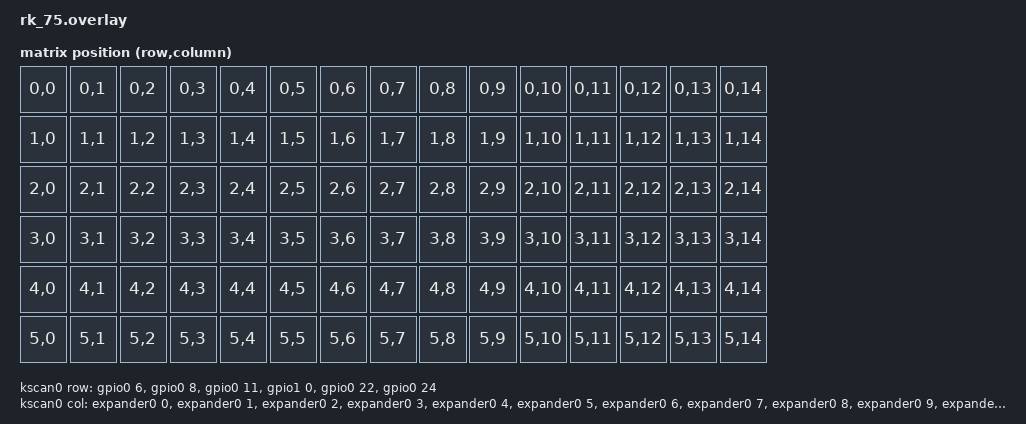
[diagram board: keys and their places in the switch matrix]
// SPDX-License-Identifier: MIT

#include <dt-bindings/zmk/matrix_transform.h>
#include <dt-bindings/gpio/gpio.h>
#include <dt-bindings/i2c/i2c.h> // 推荐包含，用于 I2C_BITRATE_FAST

/ {
    chosen {
        zmk,kscan = &kscan0;
        zmk,matrix-transform = &matrix_transform0;
    };

    kscan0: kscan {
        compatible = "zmk,kscan-gpio-matrix";
        label = "KSCAN";
        diode-direction = "col2row";

        /* 行 (Row) 引脚 - 保持在主控 MCU (&gpio0) 上 */
        // 注意：这里的引脚 P0.06, P0.08, P0.17, P0.20 在 pinctrl 中被 UART0 和 I2C0 占用。
        // 如果它们被用于矩阵行，则 UART0 和 I2C0 无法同时使用。
        row-gpios = <&gpio0 6 GPIO_ACTIVE_HIGH>,
                    <&gpio0 8 GPIO_ACTIVE_HIGH>,
                    <&gpio0 11 GPIO_ACTIVE_HIGH>,
                    <&gpio1 0 GPIO_ACTIVE_HIGH>,
                    <&gpio0 22 GPIO_ACTIVE_HIGH>,
                    <&gpio0 24 GPIO_ACTIVE_HIGH>;

        /*
         * 列 (Column) 引脚 - 已根据要求修改
         * 全部指向 I/O 扩展器 (&expander0)
         */
        col-gpios = <&expander0 0 GPIO_ACTIVE_HIGH>,  /* 对应原 &gpio1 0 */
                    <&expander0 1 GPIO_ACTIVE_HIGH>,  /* 对应原 &gpio0 11 */
                    <&expander0 2 GPIO_ACTIVE_HIGH>,  /* 对应原 &gpio1 4 */
                    <&expander0 3 GPIO_ACTIVE_HIGH>,  /* 对应原 &gpio1 6 */
                    <&expander0 4 GPIO_ACTIVE_HIGH>,  /* 对应原 &gpio0 31 */
                    <&expander0 5 GPIO_ACTIVE_HIGH>,  /* 对应原 &gpio0 29 */
                    <&expander0 6 GPIO_ACTIVE_HIGH>,  /* 对应原 &gpio0 2 */
                    <&expander0 7 GPIO_ACTIVE_HIGH>,  /* 对应原 &gpio1 15 */
                    <&expander0 8 GPIO_ACTIVE_HIGH>,  /* 对应原 &gpio1 13 */
                    <&expander0 9 GPIO_ACTIVE_HIGH>,  /* 对应原 &gpio1 11 */
                    <&expander0 10 GPIO_ACTIVE_HIGH>, /* 对应原 &gpio0 10 */
                    <&expander0 11 GPIO_ACTIVE_HIGH>, /* 对应原 &gpio0 9 */
                    <&expander0 12 GPIO_ACTIVE_HIGH>, /* 对应原 &gpio1 7 */
                    <&expander0 13 GPIO_ACTIVE_HIGH>, /* 对应原 &gpio1 2 */
                    <&expander0 14 GPIO_ACTIVE_HIGH>; /* 对应原 &gpio1 1 */
    };

    matrix_transform0: matrix_transform {
        compatible = "zmk,matrix-transform";
        rows = <6>;
        columns = <15>;

        // 按行列直通映射，可根据实际键位调整
        map = <
            RC(0,0)  RC(0,1)  RC(0,2)  RC(0,3)  RC(0,4)  RC(0,5)  RC(0,6)  RC(0,7)  RC(0,8)  RC(0,9)  RC(0,10) RC(0,11) RC(0,12) RC(0,13) RC(0,14)
            RC(1,0)  RC(1,1)  RC(1,2)  RC(1,3)  RC(1,4)  RC(1,5)  RC(1,6)  RC(1,7)  RC(1,8)  RC(1,9)  RC(1,10) RC(1,11) RC(1,12) RC(1,13) RC(1,14)
            RC(2,0)  RC(2,1)  RC(2,2)  RC(2,3)  RC(2,4)  RC(2,5)  RC(2,6)  RC(2,7)  RC(2,8)  RC(2,9)  RC(2,10) RC(2,11) RC(2,12) RC(2,13) RC(2,14)
            RC(3,0)  RC(3,1)  RC(3,2)  RC(3,3)  RC(3,4)  RC(3,5)  RC(3,6)  RC(3,7)  RC(3,8)  RC(3,9)  RC(3,10) RC(3,11) RC(3,12) RC(3,13) RC(3,14)
            RC(4,0)  RC(4,1)  RC(4,2)  RC(4,3)  RC(4,4)  RC(4,5)  RC(4,6)  RC(4,7)  RC(4,8)  RC(4,9)  RC(4,10) RC(4,11) RC(4,12) RC(4,13) RC(4,14)
            RC(5,0)  RC(5,1)  RC(5,2)  RC(5,3)  RC(5,4)  RC(5,5)  RC(5,6)  RC(5,7)  RC(5,8)  RC(5,9)  RC(5,10) RC(5,11) RC(5,12) RC(5,13) RC(5,14)
        >;
    };
};

/*
 * ======================================================================
 * 修改: MCP23017 I/O 扩展器定义 (使用 I2C0 总线)
 * ======================================================================
 */
&i2c0 { // *** 修改为 I2C0，因为您的 pinctrl 仅定义了 i2c0_default ***
    status = "okay"; // 启用 I2C 总线本身
    clock-frequency = <I2C_BITRATE_FAST>; // 400kHz

    // 引用 pinctrl 定义的引脚配置
    pinctrl-0 = <&i2c0_default>;
    pinctrl-1 = <&i2c0_sleep>;
    pinctrl-names = "default", "sleep";
    
    expander0: mcp23017@20 { // 定义扩展器，I2C 地址为 0x20
        compatible = "microchip,mcp230xx";
        status = "okay";
        gpio-controller; // 关键: 声明这是一个 GPIO 控制器
        reg = <0x20>;
        #gpio-cells = <2>;
        ngpios = <16>;
    };
};

// *** 注意事项 ***
// 您原先的 pinctrl 中：
// - P0.17 和 P0.20 被用于 I2C0 的 SDA 和 SCL。
// - 您的 kscan 行引脚中使用了 P0.17 和 P0.20。
// 这可能会导致引脚冲突！您需要确认这些引脚没有同时被用于矩阵行和 I2C 通信。
// 如果您的设计确实如此，您可能需要调整 kscan 的 row-gpios，或调整 pinctrl 中 I2C0 的引脚。
